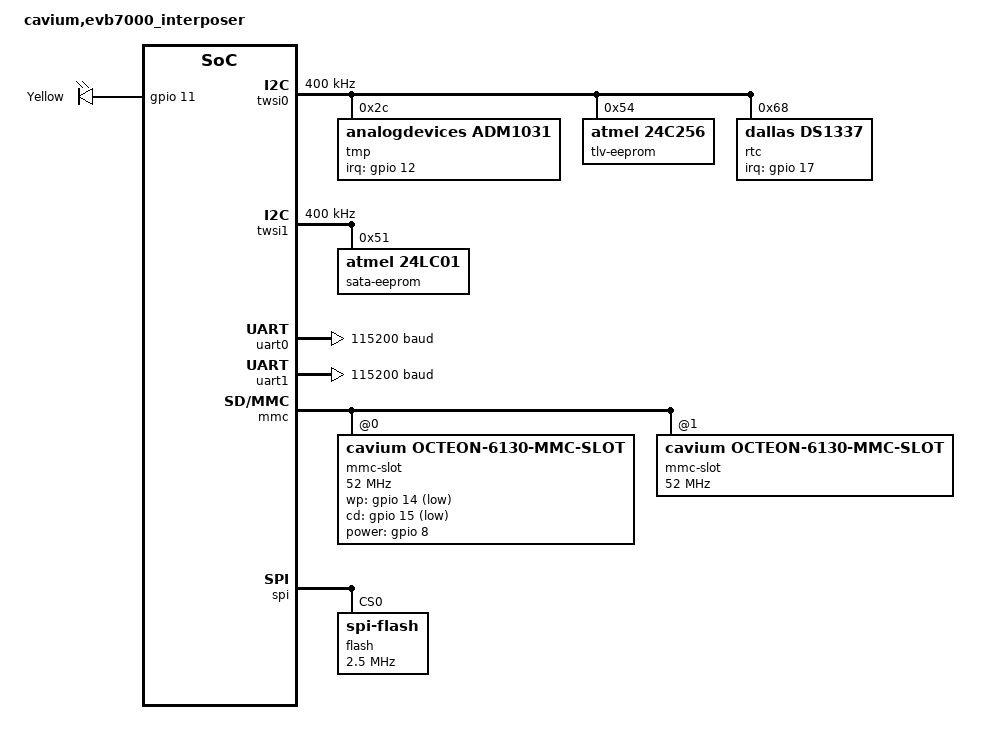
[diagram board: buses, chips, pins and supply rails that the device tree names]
/dts-v1/;
/*
 * Cavium Inc. EVB7000_INTERPOSER board
 */
/ {
	model = "cavium,evb7000_interposer";
	compatible = "cavium,evb7000_interposer";
	#address-cells = <2>;
	#size-cells = <2>;
	interrupt-parent = <&ciu>;

	soc@0 {
		compatible = "simple-bus";
		#address-cells = <2>;
		#size-cells = <2>;
		ranges; /* Direct mapping */

		ciu: interrupt-controller@1070000000000 {
			compatible = "cavium,octeon-3860-ciu";
			interrupt-controller;
			/* Interrupts are specified by two parts:
			 * 1) Controller register (0 or 1)
			 * 2) Bit within the register (0..63)
			 */
			#interrupt-cells = <2>;
			reg = <0x10700 0x00000000 0x0 0x7000>;
		};

		gpio: gpio-controller@1070000000800 {
			#gpio-cells = <2>;
			compatible = "cavium,octeon-3860-gpio";
			reg = <0x10700 0x00000800 0x0 0x100>;
			gpio-controller;
			/* Interrupts are specified by two parts:
			 * 1) GPIO pin number (0..15)
			 * 2) Triggering (1 - edge rising
			 *		  2 - edge falling
			 *		  4 - level active high
			 *		  8 - level active low)
			 */
			interrupt-controller;
			#interrupt-cells = <2>;
			/* The GPIO pins connect to 16 consecutive CUI bits */
			interrupts = <0 16>; /* <0 17> <0 18> <0 19>
				     <0 20> <0 21> <0 22> <0 23>
				     <0 24> <0 25> <0 26> <0 27>
				     <0 28> <0 29> <0 30> <0 31>; */
		};


		twsi0: i2c@1180000001000 {
			#address-cells = <1>;
			#size-cells = <0>;
			compatible = "cavium,octeon-3860-twsi";
			reg = <0x11800 0x00001000 0x0 0x200>;
			interrupts = <0 45>;
			clock-frequency = <400000>;

			tmp@2c {
				compatible = "analogdevices,adm1031";
				reg = <0x2c>;
				interrupt-parent = <&gpio>;
				interrupts = <12 8>, <13 8>, <16 8>;
			};
			tlv-eeprom@54 {
				compatible = "atmel,24c256";
				reg = <0x54>;
				pagesize = <64>;
			};
			rtc@68 {
				compatible = "dallas,ds1337";
				reg = <0x68>;
				interrupt-parent = <&gpio>;
				interrupts = <17 8>;
			};
		};

		twsi1: i2c@1180000001200 {
			#address-cells = <1>;
			#size-cells = <0>;
			compatible = "cavium,octeon-3860-twsi";
			reg = <0x11800 0x00001200 0x0 0x200>;
			interrupts = <0 59>;
			clock-frequency = <400000>;

			sata-eeprom@51 {
				compatible = "atmel,24lc01";
				reg = <0x51>;
				pagesize = <8>;
			};
		};

		uart0: serial@1180000000800 {
			compatible = "cavium,octeon-3860-uart","ns16550";
			reg = <0x11800 0x00000800 0x0 0x400>;
			clock-frequency = <0>;
			current-speed = <115200>;
			reg-shift = <3>;
			interrupts = <0 34>;
		};

		uart1: serial@1180000000c00 {
			compatible = "cavium,octeon-3860-uart","ns16550";
			reg = <0x11800 0x00000c00 0x0 0x400>;
			clock-frequency = <0>;
			current-speed = <115200>;
			reg-shift = <3>;
			interrupts = <0 35>;
		};

		mmc: mmc@1180000002000 {
			compatible = "cavium,octeon-6130-mmc";
			reg = <0x11800 0x00002000 0x0 0x100>,
			      <0x11800 0x00000168 0x0 0x20>;
			#address-cells = <1>;
			#size-cells = <0>;
			/* EMM irq, DMA irq */
			interrupts = <1 19>, <0 63>;

			/* The board only has a single MMC slot */
			mmc-slot@0 {
				compatible = "cavium,octeon-6130-mmc-slot";
				reg = <0>;
				voltage-ranges = <3300 3300>;
				spi-max-frequency = <52000000>;
				wp-gpios = <&gpio 14 1>;
				wp-inverted;
				cd-gpios = <&gpio 15 1>;
				cd-inverted;
				/* Power on GPIO 8, active high */
				power-gpios = <&gpio 8 0>;
				/* bus width can be 1, 4 or 8 */
				cavium,bus-max-width = <8>;
			};
			mmc-slot@1 {
				compatible = "cavium,octeon-6130-mmc-slot";
				reg = <1>;
				voltage-ranges = <3300 3300>;
				spi-max-frequency = <52000000>;
				/* Power on GPIO 8, active high */
				/*power-gpios = <&gpio 8 0>;*/
				non-removable;
				bus-width = <8>;
				/* bus width can be 1, 4 or 8 */
				cavium,bus-max-width = <8>;
			};
		};

		spi: spi@1070000001000 {
			compatible = "cavium,octeon-3010-spi";
			reg = <0x10700 0x00001000 0x0 0x100>;
			interrupts = <0 58>;
			#address-cells = <1>;
			#size-cells = <0>;

			flash@0 {
				compatible = "spi-flash","stmicro,m25p64";
				reg = <0>;
				spi-max-frequency = <2500000>;

				pagesize = <256>;
				size = <0x800000>;
				address-width = <24>;
			};
		};

		bootbus: bootbus@1180000000000 {
			compatible = "cavium,octeon-3860-bootbus";
			reg = <0x11800 0x00000000 0x0 0x200>;
			/* The chip select number and offset */
			#address-cells = <2>;
			/* The size of the chip select region */
			#size-cells = <1>;
			ranges = <0 0  0       0x1f400000  0xc00000>,
				 <1 0  0x10000 0x20000000  0>,
				 <2 0  0x10000 0x30000000  0>,
				 <3 0  0x10000 0x40000000  0>,
				 <4 0  0x10000 0x50000000  0>,
				 <5 0  0x10000 0x60000000  0>,
				 <6 0  0x10000 0x70000000  0>,
				 <7 0  0x10000 0x80000000  0>;

			cavium,cs-config@0 {
				compatible = "cavium,octeon-3860-bootbus-config";
				cavium,cs-index  = <0>;
				cavium,t-adr     = <20>;
				cavium,t-ale     = <34>;
				cavium,t-ce      = <60>;
				cavium,t-oe      = <60>;
				cavium,t-we      = <45>;
				cavium,t-rd-hld  = <35>;
				cavium,t-wr-hld  = <45>;
				cavium,t-pause   = <0>;
				cavium,t-wait    = <300>;
				cavium,t-page    = <35>;
				cavium,t-rd-dly  = <0>;

				cavium,bus-width = <8>;
				cavium,ale-mode  = <1>;
			};

			flash0: nor@0,0 {
				compatible = "cfi-flash";
				reg = <0 0 0x800000>;
				#address-cells = <1>;
				#size-cells = <1>;

				partition@0 {
					label = "bootloader";
					reg = <0 0x200000>;
					read-only;
				};
				partition@200000 {
					label = "kernel";
					reg = <0x200000 0x280000>;
				};
				partition@480000 {
					label = "cramfs";
					reg = <0x400000 0x370000>;
				};
				partition@7f0000 {
					label = "environment";
					reg = <0x7f0000 0x10000>;
					read-only;
				};
			};
		};

		dma0: dma-engine@1180000000100 {
			compatible = "cavium,octeon-5750-bootbus-dma";
			reg = <0x11800 0x00000100 0x0 0x8>;
			interrupts = <0 63>;
		};
		dma1: dma-engine@1180000000108 {
			compatible = "cavium,octeon-5750-bootbus-dma";
			reg = <0x11800 0x00000108 0x0 0x8>;
			interrupts = <0 63>;
		};
	};

	gpio-leds {
		compatible = "gpio-leds";

		d1 {
			label = "Yellow";
			gpios = <&gpio 11 0>;
			default-state = "keep";
		};
	};

	aliases {
		twsi0 = &twsi0;
		twsi1 = &twsi1;
		uart0 = &uart0;
		uart1 = &uart1;
		flash0 = &flash0;
		emmc = &mmc;
		spi = &spi;
	};
 };
